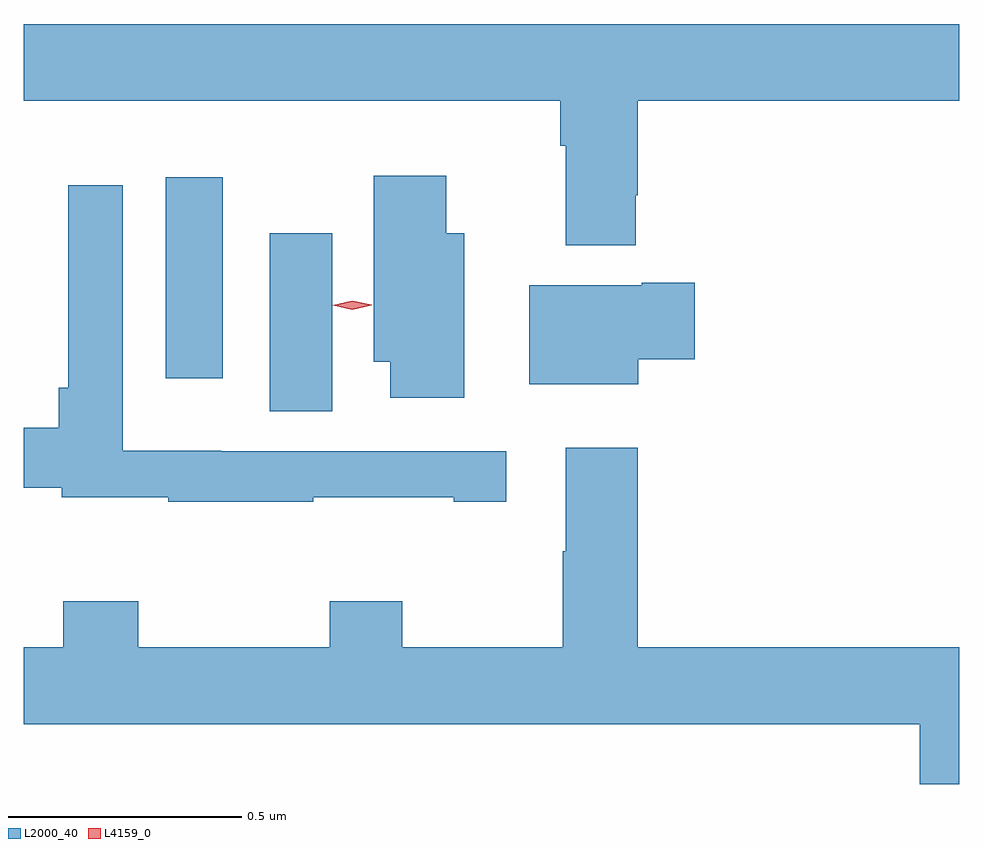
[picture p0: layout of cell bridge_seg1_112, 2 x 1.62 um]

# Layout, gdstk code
import gdstk
lib = gdstk.Library(unit=1e-6, precision=1e-09)
def R(c, l, rs):  # rectangles x0, y0, x1, y1
    for r in rs: c.add(gdstk.rectangle(r[:2], r[2:], *l))
def P(c, l, *ps):  # polygons
    for p in ps: c.add(gdstk.Polygon(p, *l))
L2000_40 = (2000, 40)
L4159_0 = (4159, 0)

bridge_seg1_112 = lib.new_cell('bridge_seg1_112')
R(bridge_seg1_112, L2000_40, [(132.506,576.376,132.64,576.757), (132.284,576.447,132.406,576.877)])
P(bridge_seg1_112, L2000_40, [(133.288,576.838),(133.292,576.838),(133.292,577.04),(133.98,577.04),(133.98,577.204),(131.98,577.204),(131.98,577.04),(133.127,577.04),(133.127,576.944),(133.139,576.944),(133.139,576.731),(133.288,576.731)],
  [(132.922,576.757),(132.883,576.757),(132.883,576.88),(132.728,576.88),(132.728,576.482),(132.764,576.482),(132.764,576.405),(132.922,576.405)],
  [(132.599,576.193),(132.899,576.193),(132.899,576.183),(133.012,576.183),(133.012,576.291),(132.402,576.291),(132.402,576.292),(132.192,576.292),(132.192,576.859),(132.076,576.859),(132.076,576.427),(132.055,576.427),(132.055,576.341),(131.98,576.341),(131.98,576.213),(132.062,576.213),(132.062,576.193),(132.289,576.193),(132.289,576.183),(132.599,576.183)],
  [(133.294,576.488),(133.414,576.488),(133.414,576.651),(133.301,576.651),(133.301,576.646),(133.061,576.646),(133.061,576.434),(133.294,576.434)],
  [(133.98,575.872),(133.292,575.872),(133.292,576.298),(133.139,576.298),(133.139,576.077),(133.132,576.077),(133.132,575.872),(132.789,575.872),(132.789,575.971),(132.634,575.971),(132.634,575.872),(132.225,575.872),(132.225,575.971),(132.065,575.971),(132.065,575.872),(131.98,575.872),(131.98,575.708),(133.895,575.708),(133.895,575.58),(133.98,575.58)])
P(bridge_seg1_112, L4159_0, [(132.682,576.593),(132.641,576.603),(132.641,576.603),(132.641,576.603),(132.682,576.613),(132.724,576.604),(132.724,576.603),(132.724,576.603)])

lib.write_gds('bridge_seg1_112.gds')
